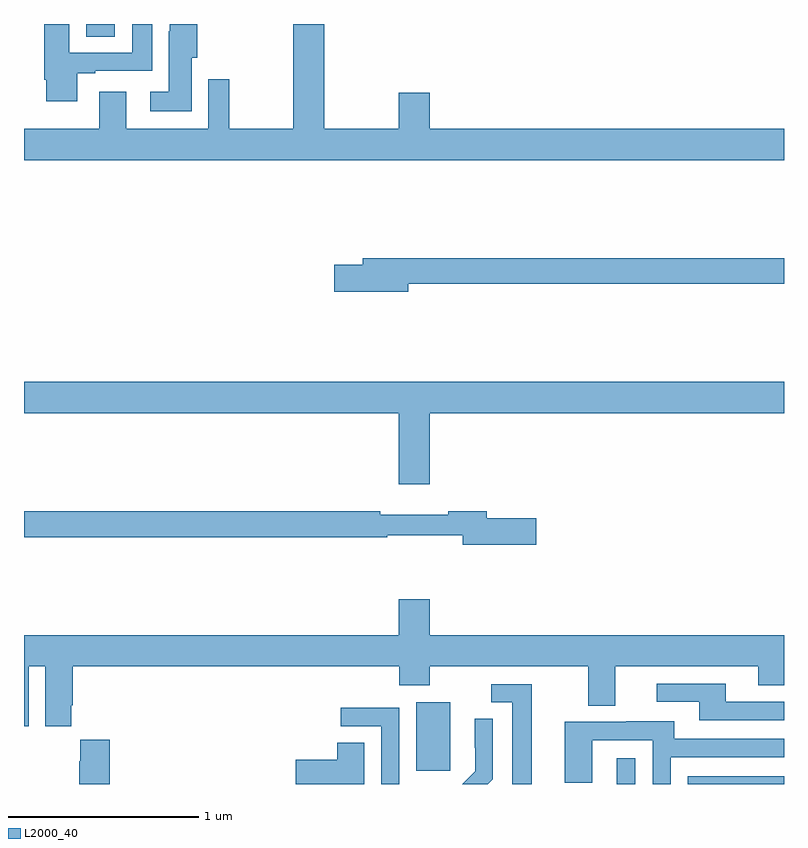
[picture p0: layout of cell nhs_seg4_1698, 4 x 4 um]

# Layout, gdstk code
import gdstk
lib = gdstk.Library(unit=1e-6, precision=1e-09)
def R(c, l, rs):  # rectangles x0, y0, x1, y1
    for r in rs: c.add(gdstk.rectangle(r[:2], r[2:], *l))
def P(c, l, *ps):  # polygons
    for p in ps: c.add(gdstk.Polygon(p, *l))
L2000_40 = (2000, 40)

nhs_seg4_1698 = lib.new_cell('nhs_seg4_1698')
R(nhs_seg4_1698, L2000_40, [(202.121,762.9,202.218,763.036), (202.494,762.9,203,762.942), (201.065,762.969,201.244,763.33), (199.328,766.834,199.477,766.9)])
P(nhs_seg4_1698, L2000_40, [(203,766.348),(201.136,766.348),(201.136,766.537),(200.972,766.537),(200.972,766.348),(200.581,766.348),(200.581,766.9),(200.417,766.9),(200.417,766.348),(200.08,766.348),(200.08,766.609),(199.971,766.609),(199.971,766.348),(199.537,766.348),(199.537,766.543),(199.397,766.543),(199.397,766.348),(199,766.348),(199,766.184),(203,766.184)],
  [(199.279,766.641),(199.375,766.641),(199.375,766.653),(199.675,766.653),(199.675,766.9),(199.571,766.9),(199.571,766.749),(199.237,766.749),(199.237,766.9),(199.106,766.9),(199.106,766.606),(199.118,766.606),(199.118,766.494),(199.279,766.494)],
  [(199.882,766.722),(199.913,766.722),(199.913,766.9),(199.767,766.9),(199.767,766.862),(199.763,766.862),(199.763,766.543),(199.665,766.543),(199.665,766.442),(199.882,766.442)],
  [(201.022,765.532),(203,765.532),(203,765.668),(200.783,765.668),(200.783,765.632),(200.634,765.632),(200.634,765.49),(201.022,765.49)],
  [(201.136,764.852),(203,764.852),(203,765.016),(199,765.016),(199,764.852),(200.972,764.852),(200.972,764.478),(201.136,764.478)],
  [(201.697,764.3),(201.436,764.3),(201.436,764.336),(201.232,764.336),(201.232,764.317),(200.876,764.317),(200.876,764.336),(199,764.336),(199,764.2),(200.912,764.2),(200.912,764.208),(201.308,764.208),(201.308,764.158),(201.697,764.158)],
  [(199.024,763.52),(199.112,763.52),(199.112,763.203),(199.249,763.203),(199.249,763.315),(199.256,763.315),(199.256,763.52),(200.975,763.52),(200.975,763.421),(201.135,763.421),(201.135,763.52),(201.971,763.52),(201.971,763.312),(202.111,763.312),(202.111,763.52),(202.865,763.52),(202.865,763.421),(203,763.421),(203,763.684),(201.136,763.684),(201.136,763.873),(200.972,763.873),(200.972,763.684),(199,763.684),(199,763.203),(199.024,763.203)],
  [(203,763.332),(202.693,763.332),(202.693,763.428),(202.329,763.428),(202.329,763.332),(202.553,763.332),(202.553,763.236),(203,763.236)],
  [(201.673,763.425),(201.459,763.425),(201.459,763.329),(201.569,763.329),(201.569,762.9),(201.673,762.9)],
  [(200.976,763.302),(200.667,763.302),(200.667,763.203),(200.88,763.203),(200.88,762.9),(200.976,762.9)],
  [(201.468,762.926),(201.468,763.244),(201.372,763.244),(201.372,763.09),(201.374,763.09),(201.374,762.968),(201.306,762.9),(201.442,762.9)],
  [(202.404,763.041),(203,763.041),(203,763.137),(202.423,763.137),(202.423,763.231),(202.169,763.231),(202.169,763.227),(201.845,763.227),(201.845,762.907),(201.99,762.907),(201.99,763.131),(202.308,763.131),(202.308,762.9),(202.404,762.9)],
  [(199.451,763.132),(199.295,763.132),(199.295,763.019),(199.291,763.019),(199.291,762.9),(199.451,762.9)],
  [(200.791,763.118),(200.648,763.118),(200.648,763.028),(200.43,763.028),(200.43,762.9),(200.791,762.9)])

lib.write_gds('nhs_seg4_1698.gds')
